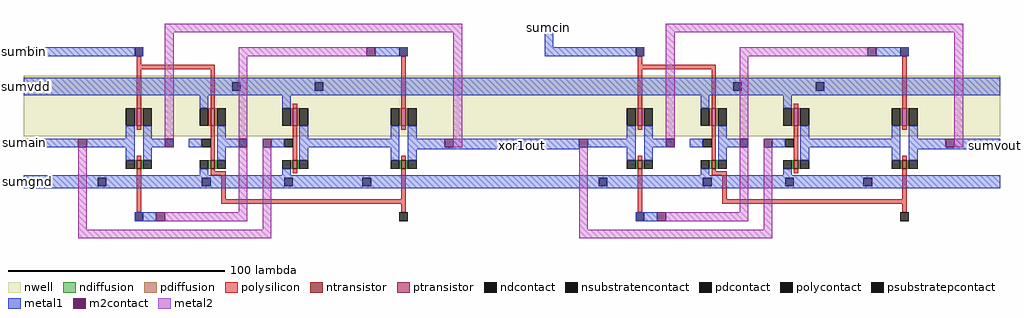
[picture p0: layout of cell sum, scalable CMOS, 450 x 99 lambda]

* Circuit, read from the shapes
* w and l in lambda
.subckt sum sumain sumbin sumcin sumvout sumvdd sumgnd
M1 xor1out xor_0/invbout sumain sumgnd nfet w=4 l=2
M2 xor_0/invbout sumbin sumgnd sumgnd nfet w=4 l=2
M3 xor_0/invaout sumain sumgnd sumgnd nfet w=4 l=2
M4 xor1out sumbin xor_0/invaout sumgnd nfet w=4 l=2
M5 sumvout xor_1/invbout xor1out sumgnd nfet w=4 l=2
M6 xor_1/invbout sumcin sumgnd sumgnd nfet w=4 l=2
M7 xor_1/invaout xor1out sumgnd sumgnd nfet w=4 l=2
M8 sumvout sumcin xor_1/invaout sumgnd nfet w=4 l=2
M9 xor1out sumbin sumain sumvdd pfet w=8 l=2
M10 xor_0/invbout sumbin sumvdd sumvdd pfet w=8 l=2
M11 xor_0/invaout sumain sumvdd sumvdd pfet w=8 l=2
M12 xor1out xor_0/invbout xor_0/invaout sumvdd pfet w=8 l=2
M13 sumvout sumcin xor1out sumvdd pfet w=8 l=2
M14 xor_1/invbout sumcin sumvdd sumvdd pfet w=8 l=2
M15 xor_1/invaout xor1out sumvdd sumvdd pfet w=8 l=2
M16 sumvout xor_1/invbout xor_1/invaout sumvdd pfet w=8 l=2
.ends

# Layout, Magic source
magic
tech scmos
<< nwell >>
rect -9 47 441 75
<< metal1 >>
rect -9 84 8 88
rect 231 84 235 97
rect -9 66 7 74
rect 187 66 241 74
rect 425 66 441 74
rect -9 42 8 46
rect 189 41 247 46
rect 427 41 441 46
rect -9 23 10 29
rect 160 23 243 29
rect 424 23 441 29
use xor  xor_1
transform 1 0 298 0 1 23
box -67 -23 134 76
use xor  xor_0
transform 1 0 67 0 1 23
box -67 -23 134 76
<< labels >>
rlabel metal1 -9 44 -9 44 3 sumain
port 1 e
rlabel metal1 -9 26 -9 26 3 sumgnd
port 6 e
rlabel metal1 -9 86 -9 86 3 sumbin
port 2 e
rlabel metal1 221 43 221 43 1 xor1out
rlabel metal1 233 97 233 97 5 sumcin
port 3 s
rlabel metal1 441 43 441 43 7 sumvout
port 4 w
rlabel metal1 -9 70 -9 70 3 sumvdd
port 5 e
<< end >>

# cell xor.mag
magic
tech scmos
<< nwell >>
rect -54 24 134 52
<< polysilicon >>
rect -24 55 12 57
rect 10 39 12 55
rect 10 6 17 8
rect 15 -5 17 6
rect 15 -7 100 -5
<< metal1 >>
rect -67 61 -21 65
rect 86 61 101 65
rect -67 43 134 51
rect -66 19 -51 23
rect -47 19 -41 23
rect 38 19 42 23
rect 55 19 88 23
rect 105 19 118 23
rect 122 19 134 23
rect 105 18 134 19
rect -66 0 133 6
rect -25 -15 -15 -11
<< metal2 >>
rect -11 72 126 76
rect -11 23 -7 72
rect 23 61 82 65
rect 23 23 27 61
rect -51 -19 -47 19
rect 23 -11 27 19
rect -11 -15 27 -11
rect 122 19 126 72
rect 34 -19 38 19
rect -51 -23 38 -19
<< m2contact >>
rect 82 61 86 65
rect -51 19 -47 23
rect -11 19 -7 23
rect 23 19 27 23
rect 34 19 38 23
rect 118 19 122 23
rect -15 -15 -11 -11
use transgate  transgate_1
transform 1 0 94 0 1 9
box -16 -24 21 56
use invertor  invertor_1
transform 1 0 44 0 1 9
box -6 -9 21 43
use transgate  transgate_0
transform 1 0 -28 0 1 9
box -16 -24 21 56
use invertor  invertor_0
transform 1 0 6 0 1 9
box -6 -9 21 43
<< labels >>
rlabel metal1 -67 63 -67 63 3 xorb
port 2 e
rlabel metal1 -66 21 -66 21 3 xora
port 1 e
rlabel metal1 -67 47 -67 47 3 xorvdd
port 4 e
rlabel metal1 -66 3 -66 3 3 xorgnd
port 5 e
rlabel metal1 134 20 134 20 7 xorvout
port 3 w
rlabel m2contact 25 23 25 23 1 invbout
rlabel metal1 71 21 71 21 1 invaout
<< end >>

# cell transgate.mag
magic
tech scmos
<< nwell >>
rect -16 15 21 43
<< polysilicon >>
rect 4 28 6 52
rect 4 18 6 20
rect 4 4 6 6
rect 4 -20 6 0
<< ndiffusion >>
rect 3 0 4 4
rect 6 0 7 4
<< pdiffusion >>
rect 3 20 4 28
rect 6 20 7 28
<< metal1 >>
rect -16 34 21 41
rect -1 14 3 20
rect -16 10 3 14
rect -1 4 3 10
rect 7 14 11 20
rect 7 10 21 14
rect 7 4 11 10
rect -16 -4 21 -3
rect -16 -8 -14 -4
rect -10 -8 21 -4
rect -16 -9 21 -8
<< ntransistor >>
rect 4 0 6 4
<< ptransistor >>
rect 4 20 6 28
<< polycontact >>
rect 3 52 7 56
rect 3 -24 7 -20
<< ndcontact >>
rect -1 0 3 4
rect 7 0 11 4
<< pdcontact >>
rect -1 20 3 28
rect 7 20 11 28
<< psubstratepcontact >>
rect -14 -8 -10 -4
<< labels >>
rlabel polycontact 5 56 5 56 5 trans_clkp
port 1 s
rlabel metal1 -16 12 -16 12 3 trans_vin
port 2 e
rlabel polycontact 5 -24 5 -24 1 trans_clkn
port 3 n
rlabel metal1 21 12 21 12 7 trans_vout
port 4 w
rlabel metal1 -16 -6 -16 -6 3 trans_gnd
port 6 e
rlabel metal1 -16 37 -16 37 3 trans_vdd
port 5 e
<< end >>

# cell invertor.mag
magic
tech scmos
<< nwell >>
rect -6 15 21 43
<< polysilicon >>
rect 4 28 6 30
rect 4 4 6 20
rect 4 -2 6 0
<< ndiffusion >>
rect 3 0 4 4
rect 6 0 7 4
<< pdiffusion >>
rect 3 20 4 28
rect 6 20 7 28
<< metal1 >>
rect -6 40 21 41
rect -6 36 14 40
rect 18 36 21 40
rect -6 34 21 36
rect -1 28 3 34
rect 7 14 11 20
rect -6 10 0 14
rect 7 10 21 14
rect 7 4 11 10
rect -1 -3 3 0
rect -6 -4 21 -3
rect -6 -8 0 -4
rect 4 -8 21 -4
rect -6 -9 21 -8
<< ntransistor >>
rect 4 0 6 4
<< ptransistor >>
rect 4 20 6 28
<< polycontact >>
rect 0 10 4 14
<< ndcontact >>
rect -1 0 3 4
rect 7 0 11 4
<< pdcontact >>
rect -1 20 3 28
rect 7 20 11 28
<< psubstratepcontact >>
rect 0 -8 4 -4
<< nsubstratencontact >>
rect 14 36 18 40
<< labels >>
rlabel metal1 -6 38 -6 38 4 inv_vdd
port 1 se
rlabel metal1 -6 12 -6 12 3 inv_vin
port 2 e
rlabel metal1 21 12 21 12 7 inv_vout
port 3 w
rlabel metal1 -6 -6 -6 -6 2 inv_gnd
port 4 ne
<< end >>
